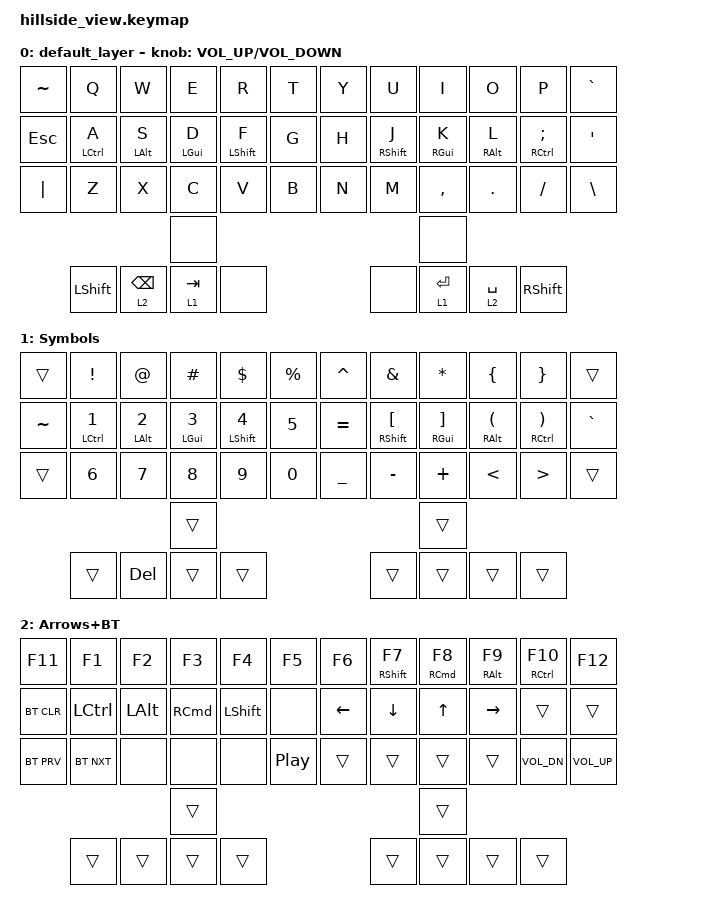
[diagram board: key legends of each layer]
#include <dt-bindings/zmk/mouse.h>
#include <behaviors/mouse_keys.dtsi>
#include <behaviors/studio_unlock.dtsi>

// Left bottom row pinky 2nd column

#ifndef LB5

#define LB5 24

#endif

// Right bottom row pinky 2nd column
#ifndef RB5

#define RB5 35

#endif

// Scrolling value when using mouse commands

#define ZMK_POINTING_DEFAULT_MOVE_VAL 600  // default: 600
#define ZMK_POINTING_DEFAULT_SCRL_VAL 20    // default: 10

#include <behaviors.dtsi>
#include <dt-bindings/zmk/bt.h>
#include <dt-bindings/zmk/keys.h>

/ {
    behaviors {
        skq: sticky_key_quick_release {
            compatible = "zmk,behavior-sticky-key";
            #binding-cells = <1>;
            bindings = <&kp>;
            release-after-ms = <1000>;
            quick-release;
            ignore-modifiers;
        };

        hml: homewrow_mods_left {
            compatible = "zmk,behavior-hold-tap";
            label = "HOMEROW_MODS_LEFT_HAND";
            bindings = <&kp>, <&kp>;

            #binding-cells = <2>;
            tapping-term-ms = <250>;
            hold-trigger-key-positions = <6 7 8 9 10 11 18 19 20 21 22 23 30 31 32 33 34 35 44 45 46 47 48 49 55 56 57 43 54 53 52 51 41 42 40 39 38>;
            flavor = "balanced";
            hold-trigger-on-release;
            require-prior-idle-ms = <70>;
            quick-tap-ms = <180>;
        };

        hmr: homewrow_mods_right {
            compatible = "zmk,behavior-hold-tap";
            label = "HOMEROW_MODS_RIGHT_HAND";
            bindings = <&kp>, <&kp>;

            #binding-cells = <2>;
            tapping-term-ms = <250>;
            hold-trigger-key-positions = <0 1 2 3 4 5 12 13 14 15 16 17 24 25 26 27 28 29 36 37 38 39 40 41 42 50 51 52 53 54 55 43 44 45>;
            flavor = "balanced";
            hold-trigger-on-release;
            require-prior-idle-ms = <70>;
            quick-tap-ms = <180>;
        };

        tm: thumb_mods {
            compatible = "zmk,behavior-hold-tap";
            bindings = <&mo>, <&kp>;

            #binding-cells = <2>;
            tapping-term-ms = <300>;
            flavor = "balanced";
            hold-trigger-on-release;
            hold-trigger-key-positions = <0 1 2 3 4 5 6 7 8 9 10 11 12 13 14 15 16 17 18 19 20 21 22 23 24 25 26 27 28 29 30 31 32 33 34 35 36 37 38 39 40 41 42 43 44 45 46 47 48 49>;
            label = "THUMB_MODS";
            quick-tap-ms = <260>;
        };

        hml_shift: hml_shift {
            compatible = "zmk,behavior-hold-tap";
            label = "HML_SHIFT";
            bindings = <&kp>, <&kp>;

            #binding-cells = <2>;
            tapping-term-ms = <200>;
            hold-trigger-key-positions = <44 45 46 47 48 49 55 56 57 43 54 53 15 14 13 40 39 38>;
            flavor = "tap-preferred";
            quick-tap-ms = <180>;
            hold-trigger-on-release;
        };

        hmr_shift: hmr_shift {
            compatible = "zmk,behavior-hold-tap";
            label = "HMR_SHIFT";
            bindings = <&kp>, <&kp>;

            #binding-cells = <2>;
            tapping-term-ms = <200>;
            hold-trigger-key-positions = <38 39 40 50 51 52 53 54 43 44 45 20 21 22 25 12 13 14 15 16 25 26 27 28 12 13 14 16 17 24 25 26 27 28 29>;
            flavor = "tap-preferred";
            quick-tap-ms = <180>;
            hold-trigger-on-release;
        };

        tm_hold_press: tm_hold_press {
            compatible = "zmk,behavior-hold-tap";
            label = "TM_HOLD_PRESS";
            bindings = <&mo>, <&kp>;

            #binding-cells = <2>;
            tapping-term-ms = <300>;
            quick-tap-ms = <250>;
            flavor = "hold-preferred";
            hold-while-undecided;
            hold-trigger-key-positions = <0 10 12 13 14 15 16 17 18 19 20 21 22 23 24 25 26 27 28 29 30 31 32 33 34 35 36 37 1 2 4 3 5 6 7 8 9 11>;
        };

        shift_or_caps_word: shift_or_caps_word {
            compatible = "zmk,behavior-tap-dance";
            label = "SHIFT_OR_CAPS_WORD";
            #binding-cells = <0>;
            bindings = <&skq RIGHT_SHIFT>, <&caps_word>;

            tapping-term-ms = <400>;
        };

        tm_magic_shift: tm_magic_shift {
            compatible = "zmk,behavior-hold-tap";
            label = "TM_MAGIC_SHIFT";
            bindings = <&kp>, <&shift_or_caps_word>;

            #binding-cells = <2>;
            tapping-term-ms = <300>;
            quick-tap-ms = <1500>;
            hold-trigger-key-positions = <0 10 12 13 14 15 16 17 18 19 20 21 22 23 24 25 26 27 28 29 30 31 32 33 34 35 36 37 1 2 4 3 5 6 7 8 9 11>;
            flavor = "balanced";
            hold-trigger-on-release;
        };

        backspace_or_delete: backspace_or_delete {
            compatible = "zmk,behavior-mod-morph";
            label = "BACKSPACE_OR_DELETE";
            bindings = <&kp BACKSPACE>, <&kp DELETE>;

            #binding-cells = <0>;
            mods = <(MOD_LSFT|MOD_RSFT)>;
        };

        tm_backspace: tm_backspace {
            compatible = "zmk,behavior-hold-tap";
            label = "TM_BACKSPACE";
            bindings = <&lt>, <&backspace_or_delete>;

            #binding-cells = <2>;
            tapping-term-ms = <300>;
            flavor = "balanced";
            quick-tap-ms = <260>;
            hold-trigger-key-positions = <0 1 2 3 4 5 6 7 8 9 10 12 13 14 15 16 17 18 19 20 21 22 24 25 26 27 28 29 30 31 32 33 34 36 37 38 39 40 41 42 43 44 45>;
            hold-trigger-on-release;
        };
    };

    combos {
        compatible = "zmk,combos";

        caps_word_right {
            bindings = <&caps_word>;
            key-positions = <44 45>;
            timeout-ms = <100>;
        };

        caps_work_left {
            bindings = <&caps_word>;
            key-positions = <39 38>;
            timeout-ms = <100>;
        };
    };

    keymap {
        compatible = "zmk,keymap";

        default_layer {
            // ------------------------------------------------------------------------------------------------------------
            // |  ESC  |  1  |  2  |  3   |  4   |  5   |                   |  6   |  7    |  8    |  9   |   0   |   `   |
            // |  TAB  |  Q  |  W  |  E   |  R   |  T   |                   |  Y   |  U    |  I    |  O   |   P   |   -   |
            // |  CTRL |  A  |  S  |  D   |  F   |  G   |                   |  H   |  J    |  K    |  L   |   ;   |   '   |
            // | SHIFT |  Z  |  X  |  C   |  V   |  B   |   "["  |  |  "]"  |  N   |  M    |  ,    |  .   |   /   | SHIFT |
            //                     | ALT  | GUI  | LOWER|  SPACE |  | ENTER | RAISE| BSPC  | GUI   |

            bindings = <
&kp TILDE   &kp Q           &kp W            &kp E                 &kp R                    &kp T      &kp Y  &kp U                     &kp I                   &kp O             &kp P            &kp GRAVE
&kp ESCAPE  &hml LCTRL A    &hml LEFT_ALT S  &hml LEFT_GUI D       &hml_shift LEFT_SHIFT F  &kp G      &kp H  &hmr_shift RIGHT_SHIFT J  &hmr RIGHT_GUI K        &hmr RIGHT_ALT L  &hmr RCTRL SEMI  &kp SQT
&kp PIPE    &kp Z           &kp X            &kp C                 &kp V                    &kp B      &kp N  &kp M                     &kp COMMA               &kp DOT           &kp FSLH         &kp BACKSLASH
                                             &none                                                                                      &none
            &kp LEFT_SHIFT  &tm 2 BACKSPACE  &tm_hold_press 1 TAB  &none                                      &none                     &tm_hold_press 1 ENTER  &tm 2 SPACE       &kp RIGHT_SHIFT
            >;

            sensor-bindings = <&inc_dec_kp C_VOLUME_UP C_VOLUME_DOWN>;
        };

        Symbols {
            // ------------------------------------------------------------------------------------------------------------
            // | BTCLR | BT1 | BT2 |  BT3 |  BT4 |  BT5 |                   |      |       |       |      |       |       |
            // |  F1   |  F2 |  F3 |  F4  |  F5  |  F6  |                   |  F7  |  F8   |  F9   |  F10 |  F11  |  F12  |
            // |   `   |  !  |  @  |  #   |  $   |  %   |                   |  ^   |  &    |  *    |  (   |   )   |   ~   |
            // |       |     |     |      |      |      |        |  |       |      |  _    |  +    |  {   |   }   |  "|"  |
            //                     |      |      |      |        |  |       |      |       |       |

            bindings = <
&trans     &kp EXCLAMATION             &kp AT_SIGN             &kp HASH                &kp DOLLAR                      &kp PERCENT      &kp CARET  &kp AMPERSAND                        &kp ASTERISK                  &kp LEFT_BRACE                   &kp RIGHT_BRACE                       &trans
&kp TILDE  &hml LEFT_CONTROL NUMBER_1  &hml LEFT_ALT NUMBER_2  &hml LEFT_GUI NUMBER_3  &hml_shift LEFT_SHIFT NUMBER_4  &kp N5           &kp EQUAL  &hmr_shift RIGHT_SHIFT LEFT_BRACKET  &hmr RIGHT_GUI RIGHT_BRACKET  &hmr RIGHT_ALT LEFT_PARENTHESIS  &hmr RIGHT_CONTROL RIGHT_PARENTHESIS  &kp GRAVE
&trans     &kp NUMBER_6                &kp N7                  &kp N8                  &kp N9                          &kp N0           &kp UNDER  &kp MINUS                            &kp PLUS                      &kp LESS_THAN                    &kp GREATER_THAN                      &trans
                                                               &trans                                                                                                                   &trans
           &trans                      &kp DEL                 &trans                  &trans                                                      &trans                               &trans                        &trans                           &trans
            >;
        };

        Arrows+BT {
            // ------------------------------------------------------------------------------------------------------------
            // |       |     |     |      |      |      |                   |      |       |       |      |       |       |
            // |   `   |  1  |  2  |  3   |  4   |  5   |                   |  6   |   7   |   8   |  9   |   0   |       |
            // |   F1  |  F2 |  F3 |  F4  |  F5  |  F6  |                   |      |   <-  |   v   |  ^   |  ->   |       |
            // |   F7  |  F8 |  F9 |  F10 |  F11 |  F12 |        |  |       |  +   |   -   |   =   |  [   |   ]   |   \   |
            //                     |      |      |      |        |  |       |      |       |       |

            bindings = <
&kp F11     &kp F1            &kp F2        &kp F3             &kp F4          &kp F5                &kp F6    &hmr RIGHT_SHIFT F7  &hmr RIGHT_COMMAND F8  &hmr RIGHT_ALT F9  &hmr RIGHT_CONTROL F10  &kp F12
&bt BT_CLR  &kp LEFT_CONTROL  &kp LEFT_ALT  &kp RIGHT_COMMAND  &kp LEFT_SHIFT  &none                 &kp LEFT  &kp DOWN             &kp UP_ARROW           &kp RIGHT          &trans                  &trans
&bt BT_PRV  &bt BT_NXT        &none         &none              &none           &kp C_PLAY_PAUSE      &trans    &trans               &trans                 &trans             &kp C_VOL_DN            &kp C_VOLUME_UP
                                            &trans                                                                                  &trans
            &trans            &trans        &trans             &trans                                          &trans               &trans                 &trans             &trans
            >;
        };
    };
};
